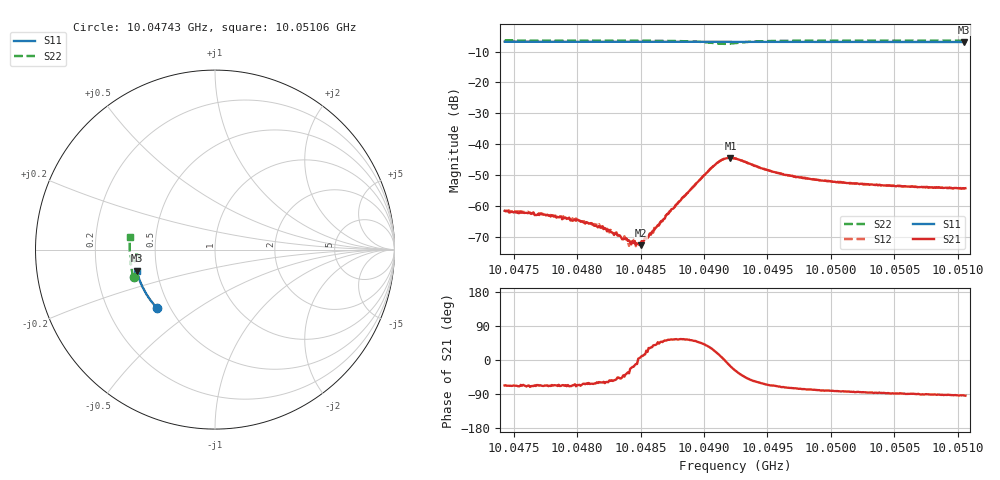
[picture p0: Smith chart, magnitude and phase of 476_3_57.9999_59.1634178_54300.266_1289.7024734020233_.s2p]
#  HZ  S  RI  R  50.00
! Rohde & Schwarz Vector Network Analyzer
! Rohde-Schwarz,ZNB20-2Port,1311601062101988,3.16
! Created: UTC 3/21/2024, 1:11:41 AM
! freq[Hz]  re:S11  im:S11  re:S21  im:S21  re:S12  im:S12  re:S22  im:S22
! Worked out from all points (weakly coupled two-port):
!   401 points, 10.04743 GHz to 10.05106 GHz, reference 50 ohm
!   highest |S21| = -44.43 dB at 10.04921 GHz (marker M1); lowest = -72.8 dB at 10.0485 GHz (marker M2)
!   lowest |S11| = -6.9 dB at 10.05105 GHz (marker M3), VSWR 2.65, Z = 19.1 - j5.63 ohm
!   |S11| at or under -10 dB: nowhere
!   |S22| runs from -7.5 to -6.4 dB; largest |S21 - S12| = 0.00046
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1.0047428e10  -0.3245 -0.3237  0.000321 -0.000767  0.000382 -0.000755  -0.4534 -0.1545
1.0047728e10  -0.3379 -0.309  0.000267 -0.000674  0.000334 -0.000669  -0.4591 -0.1347
1.0048036e10  -0.3507 -0.2932  0.000236 -0.000511  0.000264 -0.000499  -0.4639 -0.1134
1.00481e10  -0.3534 -0.2898  0.000233 -0.000465  0.000247 -0.000459  -0.4647 -0.1088
1.0048227e10  -0.3584 -0.2832  0.000221 -0.000359  0.000239 -0.000363  -0.4662 -0.0997
1.0048381e10  -0.3644 -0.275  0.000236 -0.000184  0.000245 -0.000158  -0.4677 -0.088
1.0048409e10  -0.3654 -0.2736  0.000225 -0.000159  0.000198 -0.000106  -0.4679 -0.0859
1.0048436e10  -0.3664 -0.2722  0.000256 -8.34e-05  0.000254 -6.53e-05  -0.4681 -0.0838
1.0048481e10  -0.3681 -0.2696  0.000237 1.34e-05  0.000253 5.41e-06  -0.4683 -0.08
1.0048499e10  -0.3689 -0.2686  0.000228 2.88e-05  0.000237 2.48e-05  -0.4682 -0.0786
1.0048572e10  -0.3714 -0.2647  0.000306 0.000185  0.000291 0.00021  -0.4685 -0.0725
1.0048645e10  -0.3742 -0.2607  0.000352 0.00033  0.000333 0.000385  -0.4682 -0.066
1.0048717e10  -0.3768 -0.2566  0.000439 0.000595  0.000429 0.000627  -0.4676 -0.0591
1.0049063e10  -0.3882 -0.2369  0.00365 0.00208  0.00354 0.00226  -0.4366 -0.0273
1.0049144e10  -0.3907 -0.2325  0.00557 0.000556  0.00557 0.000866  -0.4208 -0.0395
1.0049208e10  -0.3926 -0.229  0.00576 -0.00171  0.00591 -0.00129  -0.4223 -0.0567
1.0049244e10  -0.3936 -0.2271  0.0052 -0.0027  0.00539 -0.00236  -0.429 -0.0634
1.0049553e10  -0.4034 -0.2092  0.00134 -0.00326  0.0015 -0.00326  -0.4683 -0.0437
1.0049853e10  -0.4117 -0.1914  0.000551 -0.00263  0.000694 -0.00263  -0.4748 -0.0168
1.0050461e10  -0.426 -0.1542  7.45e-05 -0.00213  0.000224 -0.00213  -0.4754 0.0284
1.0051051e10  -0.4367 -0.1169  -0.000123 -0.00192  3.89e-06 -0.00191  -0.4711 0.0689
1.0051061e10  -0.4369 -0.1165  -0.000141 -0.00193  -4.38e-05 -0.00192  -0.4709 0.0693
